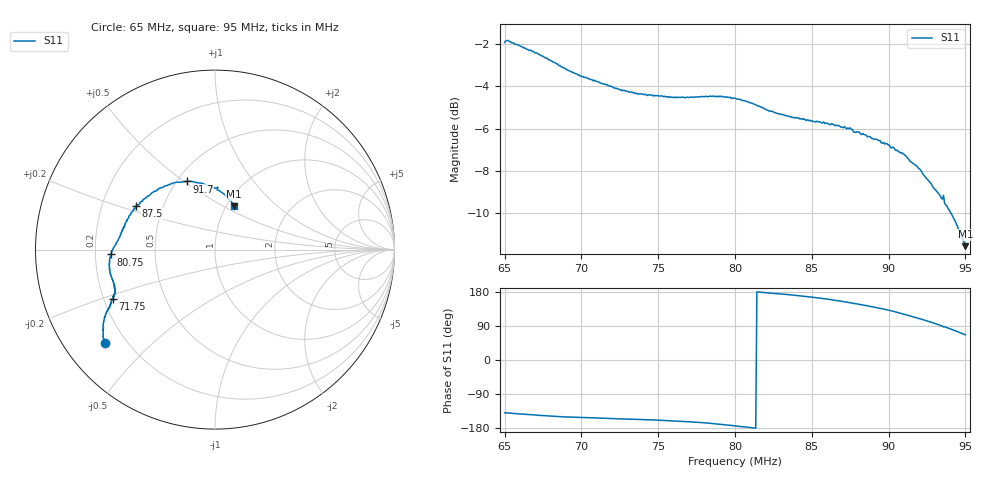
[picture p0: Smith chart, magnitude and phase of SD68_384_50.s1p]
! NanoVNA-App
! Date: 2025-08-02 15:47:16
! Start: 65MHz Stop: 95MHz Points: 401
! S-Parameter data: F S11
# Hz S RI R 50
!  Frequency  S11_Real  S11_Imag
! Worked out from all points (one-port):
!   401 points, 65 MHz to 95 MHz, reference 50 ohm
!   lowest |S11| = -11.6 dB at 95 MHz (marker M1), VSWR 1.72, Z = 54.1 + j28.2 ohm
!   |S11| at or under -10 dB: 94.05 MHz to end of sweep
!   S11 on the Smith chart (normalised r, x): 65 MHz: 0.12, -0.36; 71.75 MHz: 0.24, -0.22; 80.75 MHz: 0.27, -0.02; 87.5 MHz: 0.35, +0.23; 91.7 MHz: 0.56, +0.51; 95 MHz: 1.08, +0.56
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6.5e7  -0.6111 -0.519
6.5225e7  -0.6199 -0.5228
6.5975e7  -0.625 -0.4812
6.725e7  -0.623 -0.4207
6.875e7  -0.6056 -0.3532
6.995e7  -0.5865 -0.3168
7.175e7  -0.5705 -0.2753
7.25e7  -0.5632 -0.2573
7.4225e7  -0.5577 -0.2308
7.625e7  -0.5639 -0.1901
7.7075e7  -0.5691 -0.173
7.8425e7  -0.5838 -0.1322
8e7  -0.5886 -0.0635
8.075e7  -0.5804 -0.027
8.1725e7  -0.5627 0.0139
8.375e7  -0.5273 0.0791
8.5925e7  -0.4888 0.1674
8.75e7  -0.4401 0.2443
8.87e7  -0.3819 0.2914
8.9825e7  -0.3158 0.3381
9.0875e7  -0.234 0.3719
9.125e7  -0.2027 0.3747
9.17e7  -0.1582 0.38
9.26e7  -0.0762 0.3697
9.3425e7  -0.00321 0.3432
9.41e7  0.0492 0.3105
9.4475e7  0.0751 0.2849
9.5e7  0.1053 0.242
